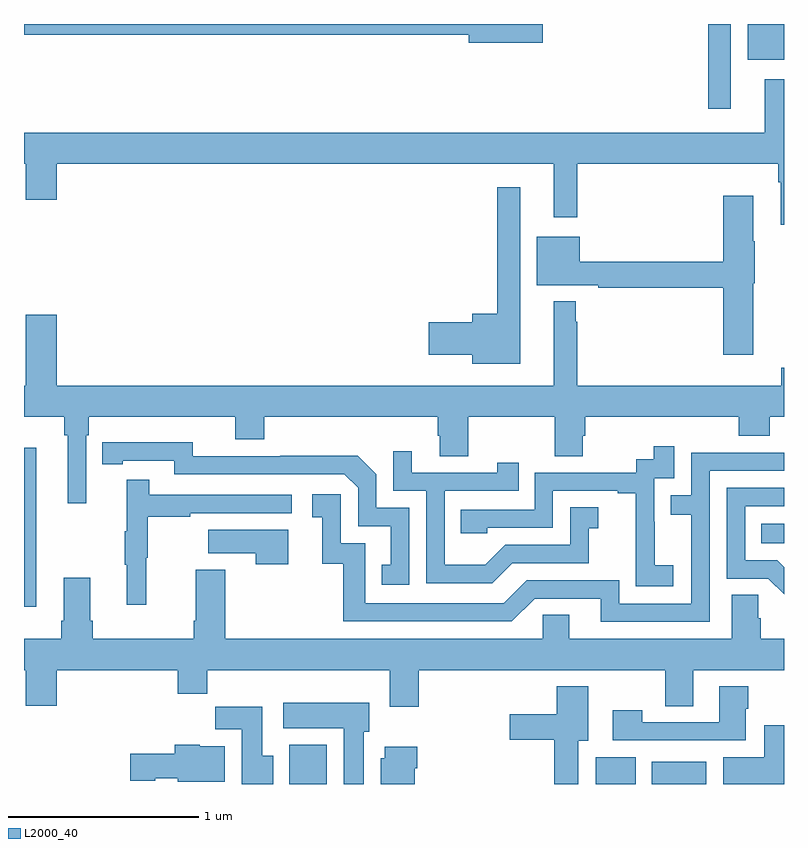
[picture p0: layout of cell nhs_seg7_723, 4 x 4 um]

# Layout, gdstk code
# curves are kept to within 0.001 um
import gdstk
lib = gdstk.Library(unit=1e-6, precision=1e-09)
def R(c, l, rs):  # rectangles x0, y0, x1, y1
    for r in rs: c.add(gdstk.rectangle(r[:2], r[2:], *l))
def P(c, l, *ps):  # polygons
    for p in ps: c.add(gdstk.Polygon(p, *l))
L2000_40 = (2000, 40)

nhs_seg7_723 = lib.new_cell('nhs_seg7_723')
R(nhs_seg7_723, L2000_40, [(166.397,1016,166.594,1016.206), (168.008,1016,168.22,1016.14), (168.305,1016,168.592,1016.116), (165,1016.934,165.064,1017.769), (168.88,1017.266,169,1017.37), (168.6,1019.553,168.721,1020), (168.809,1019.813,169,1020)])
P(nhs_seg7_723, L2000_40, [(167.731,1020),(165,1020),(165,1019.944),(167.342,1019.944),(167.342,1019.902),(167.731,1019.902)],
  [(169,1019.71),(168.899,1019.71),(168.899,1019.428),(165,1019.428),(165,1019.264),(165.008,1019.264),(165.008,1019.076),(165.172,1019.076),(165.172,1019.264),(167.789,1019.264),(167.789,1018.983),(167.911,1018.983),(167.911,1019.264),(168.971,1019.264),(168.971,1019.168),(168.983,1019.168),(168.983,1018.944),(169,1018.944)],
  [(167.611,1019.14),(167.49,1019.14),(167.49,1018.474),(167.36,1018.474),(167.36,1018.43),(167.13,1018.43),(167.13,1018.259),(167.36,1018.259),(167.36,1018.211),(167.611,1018.211)],
  [(168.838,1018.635),(168.846,1018.635),(168.846,1018.856),(168.838,1018.856),(168.838,1019.095),(168.68,1019.095),(168.68,1018.748),(167.926,1018.748),(167.926,1018.879),(167.699,1018.879),(167.699,1018.625),(168.022,1018.625),(168.022,1018.612),(168.68,1018.612),(168.68,1018.26),(168.838,1018.26)],
  [(165.327,1017.836),(165.341,1017.836),(165.341,1017.932),(166.112,1017.932),(166.112,1017.815),(166.265,1017.815),(166.265,1017.932),(167.177,1017.932),(167.177,1017.834),(167.189,1017.834),(167.189,1017.724),(167.337,1017.724),(167.337,1017.932),(167.794,1017.932),(167.794,1017.724),(167.941,1017.724),(167.941,1017.834),(167.954,1017.834),(167.954,1017.932),(168.761,1017.932),(168.761,1017.833),(168.926,1017.833),(168.926,1017.932),(169,1017.932),(169,1018.192),(168.985,1018.192),(168.985,1018.096),(167.911,1018.096),(167.911,1018.433),(167.904,1018.433),(167.904,1018.54),(167.789,1018.54),(167.789,1018.096),(165.172,1018.096),(165.172,1018.471),(165.008,1018.471),(165.008,1018.096),(165,1018.096),(165,1017.932),(165.211,1017.932),(165.211,1017.836),(165.23,1017.836),(165.23,1017.477),(165.327,1017.477)],
  [(167.028,1017.453),(166.854,1017.453),(166.854,1017.63),(166.756,1017.728),(166.348,1017.728),(166.348,1017.726),(165.888,1017.726),(165.888,1017.799),(165.412,1017.798),(165.412,1017.682),(165.52,1017.682),(165.52,1017.702),(165.792,1017.702),(165.792,1017.63),(166.686,1017.63),(166.758,1017.558),(166.758,1017.357),(166.931,1017.357),(166.931,1017.153),(166.882,1017.153),(166.882,1017.048),(167.028,1017.048)],
  [(168.418,1017.151),(168.32,1017.151),(168.32,1017.38),(168.318,1017.38),(168.318,1017.609),(168.423,1017.609),(168.423,1017.778),(168.315,1017.778),(168.315,1017.708),(168.222,1017.708),(168.222,1017.639),(167.688,1017.639),(167.688,1017.444),(167.299,1017.444),(167.299,1017.321),(167.439,1017.321),(167.439,1017.348),(167.784,1017.348),(167.784,1017.543),(168.125,1017.543),(168.125,1017.531),(168.221,1017.531),(168.221,1017.247),(168.22,1017.247),(168.22,1017.041),(168.418,1017.041)],
  [(167.569,1017.162),(167.973,1017.162),(167.973,1017.347),(168.022,1017.347),(168.022,1017.457),(167.874,1017.457),(167.874,1017.258),(167.532,1017.258),(167.428,1017.154),(167.214,1017.154),(167.214,1017.543),(167.603,1017.543),(167.603,1017.691),(167.492,1017.691),(167.492,1017.639),(167.041,1017.639),(167.041,1017.751),(166.944,1017.751),(166.944,1017.543),(167.118,1017.543),(167.118,1017.057),(167.464,1017.057)],
  [(168.609,1017.648),(169,1017.648),(169,1017.744),(168.513,1017.744),(168.513,1017.519),(168.403,1017.519),(168.403,1017.418),(168.513,1017.418),(168.513,1016.949),(168.132,1016.949),(168.132,1017.072),(167.646,1017.072),(167.526,1016.952),(166.797,1016.952),(166.797,1017.267),(166.668,1017.267),(166.668,1017.526),(166.518,1017.526),(166.518,1017.405),(166.571,1017.405),(166.571,1017.159),(166.681,1017.159),(166.681,1016.856),(167.568,1016.856),(167.688,1016.976),(168.035,1016.976),(168.035,1016.853),(168.609,1016.853)],
  [(165.644,1017.192),(165.652,1017.192),(165.652,1017.406),(165.875,1017.406),(165.875,1017.426),(166.408,1017.426),(166.408,1017.522),(165.659,1017.522),(165.659,1017.601),(165.542,1017.601),(165.542,1017.329),(165.531,1017.329),(165.531,1017.155),(165.542,1017.155),(165.542,1016.943),(165.644,1016.943)],
  [(169,1017.141),(168.964,1017.177),(168.795,1017.177),(168.795,1017.462),(169,1017.462),(169,1017.558),(168.699,1017.558),(168.699,1017.081),(168.918,1017.081),(169,1017)],
  [(166.39,1017.337),(165.971,1017.337),(165.971,1017.215),(166.22,1017.215),(166.22,1017.156),(166.39,1017.156)],
  [(167.078,1016.6),(168.376,1016.6),(168.376,1016.41),(168.523,1016.41),(168.523,1016.6),(169,1016.6),(169,1016.764),(168.878,1016.764),(168.878,1016.873),(168.864,1016.873),(168.864,1016.996),(168.725,1016.996),(168.725,1016.764),(167.869,1016.764),(167.869,1016.891),(167.73,1016.891),(167.73,1016.764),(166.058,1016.764),(166.058,1017.127),(165.905,1017.127),(165.905,1016.86),(165.893,1016.86),(165.893,1016.764),(165.362,1016.764),(165.362,1016.86),(165.349,1016.86),(165.349,1017.085),(165.209,1017.085),(165.209,1016.86),(165.197,1016.86),(165.197,1016.764),(165,1016.764),(165,1016.6),(165.008,1016.6),(165.008,1016.412),(165.172,1016.412),(165.172,1016.6),(165.809,1016.6),(165.809,1016.476),(165.965,1016.476),(165.965,1016.6),(166.925,1016.6),(166.925,1016.406),(167.078,1016.406)],
  [(168.799,1016.395),(168.812,1016.395),(168.812,1016.515),(168.659,1016.515),(168.659,1016.325),(168.255,1016.325),(168.255,1016.389),(168.099,1016.389),(168.099,1016.229),(168.799,1016.229)],
  [(167.917,1016.228),(167.971,1016.228),(167.971,1016.515),(167.804,1016.515),(167.804,1016.368),(167.556,1016.368),(167.556,1016.234),(167.792,1016.234),(167.792,1016),(167.917,1016)],
  [(166.789,1016.274),(166.816,1016.274),(166.816,1016.428),(166.365,1016.428),(166.365,1016.294),(166.682,1016.294),(166.682,1016),(166.789,1016)],
  [(166.312,1016.148),(166.255,1016.148),(166.255,1016.407),(166.006,1016.407),(166.006,1016.288),(166.145,1016.288),(166.145,1016),(166.312,1016)],
  [(169,1016.308),(168.896,1016.308),(168.896,1016.14),(168.68,1016.14),(168.68,1016),(169,1016)],
  [(166.057,1016.2),(165.924,1016.2),(165.924,1016.206),(165.794,1016.206),(165.794,1016.16),(165.558,1016.16),(165.558,1016.018),(165.69,1016.018),(165.69,1016.03),(165.81,1016.03),(165.81,1016.012),(166.057,1016.012)],
  [(167.056,1016.084),(167.069,1016.084),(167.069,1016.197),(166.898,1016.197),(166.898,1016.136),(166.877,1016.136),(166.877,1016),(167.056,1016)])

lib.write_gds('nhs_seg7_723.gds')
